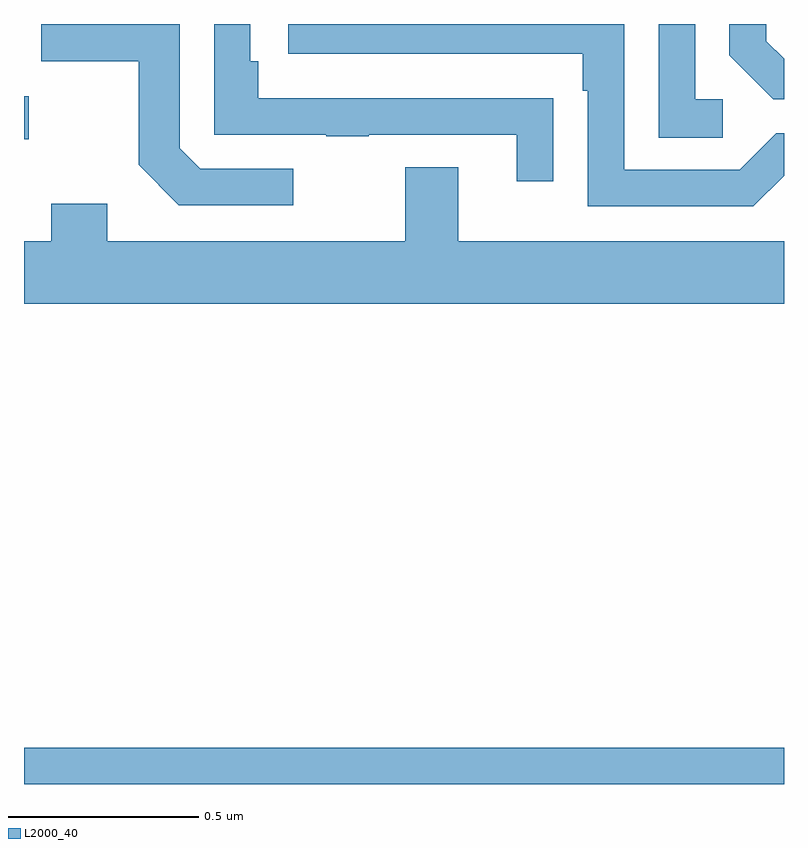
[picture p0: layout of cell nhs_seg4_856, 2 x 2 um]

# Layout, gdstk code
import gdstk
lib = gdstk.Library(unit=1e-6, precision=1e-09)
def R(c, l, rs):  # rectangles x0, y0, x1, y1
    for r in rs: c.add(gdstk.rectangle(r[:2], r[2:], *l))
def P(c, l, *ps):  # polygons
    for p in ps: c.add(gdstk.Polygon(p, *l))
L2000_40 = (2000, 40)

nhs_seg4_856 = lib.new_cell('nhs_seg4_856')
R(nhs_seg4_856, L2000_40, [(121,784.9,123,784.996), (121,786.597,121.012,786.71)])
P(nhs_seg4_856, L2000_40, [(122.839,786.702),(122.766,786.702),(122.766,786.9),(122.67,786.9),(122.67,786.601),(122.839,786.601)],
  [(123,786.501),(123,786.612),(122.979,786.612),(122.883,786.516),(122.58,786.516),(122.58,786.9),(121.695,786.9),(121.695,786.822),(122.471,786.822),(122.471,786.725),(122.484,786.725),(122.484,786.42),(122.919,786.42)],
  [(123,786.808),(122.953,786.855),(122.953,786.9),(122.856,786.9),(122.856,786.818),(122.972,786.702),(123,786.702)],
  [(122.393,786.704),(122.291,786.704),(122.291,786.705),(121.616,786.705),(121.616,786.802),(121.596,786.802),(121.596,786.9),(121.5,786.9),(121.5,786.609),(121.795,786.609),(121.795,786.604),(121.907,786.604),(121.907,786.609),(122.297,786.609),(122.297,786.486),(122.393,786.486)],
  [(121.708,786.519),(121.464,786.519),(121.41,786.573),(121.41,786.9),(121.045,786.9),(121.045,786.802),(121.302,786.802),(121.302,786.529),(121.407,786.423),(121.708,786.423)],
  [(123,786.328),(122.143,786.328),(122.143,786.523),(122.003,786.523),(122.003,786.328),(121.219,786.328),(121.219,786.427),(121.072,786.427),(121.072,786.328),(121,786.328),(121,786.164),(123,786.164)])

lib.write_gds('nhs_seg4_856.gds')
